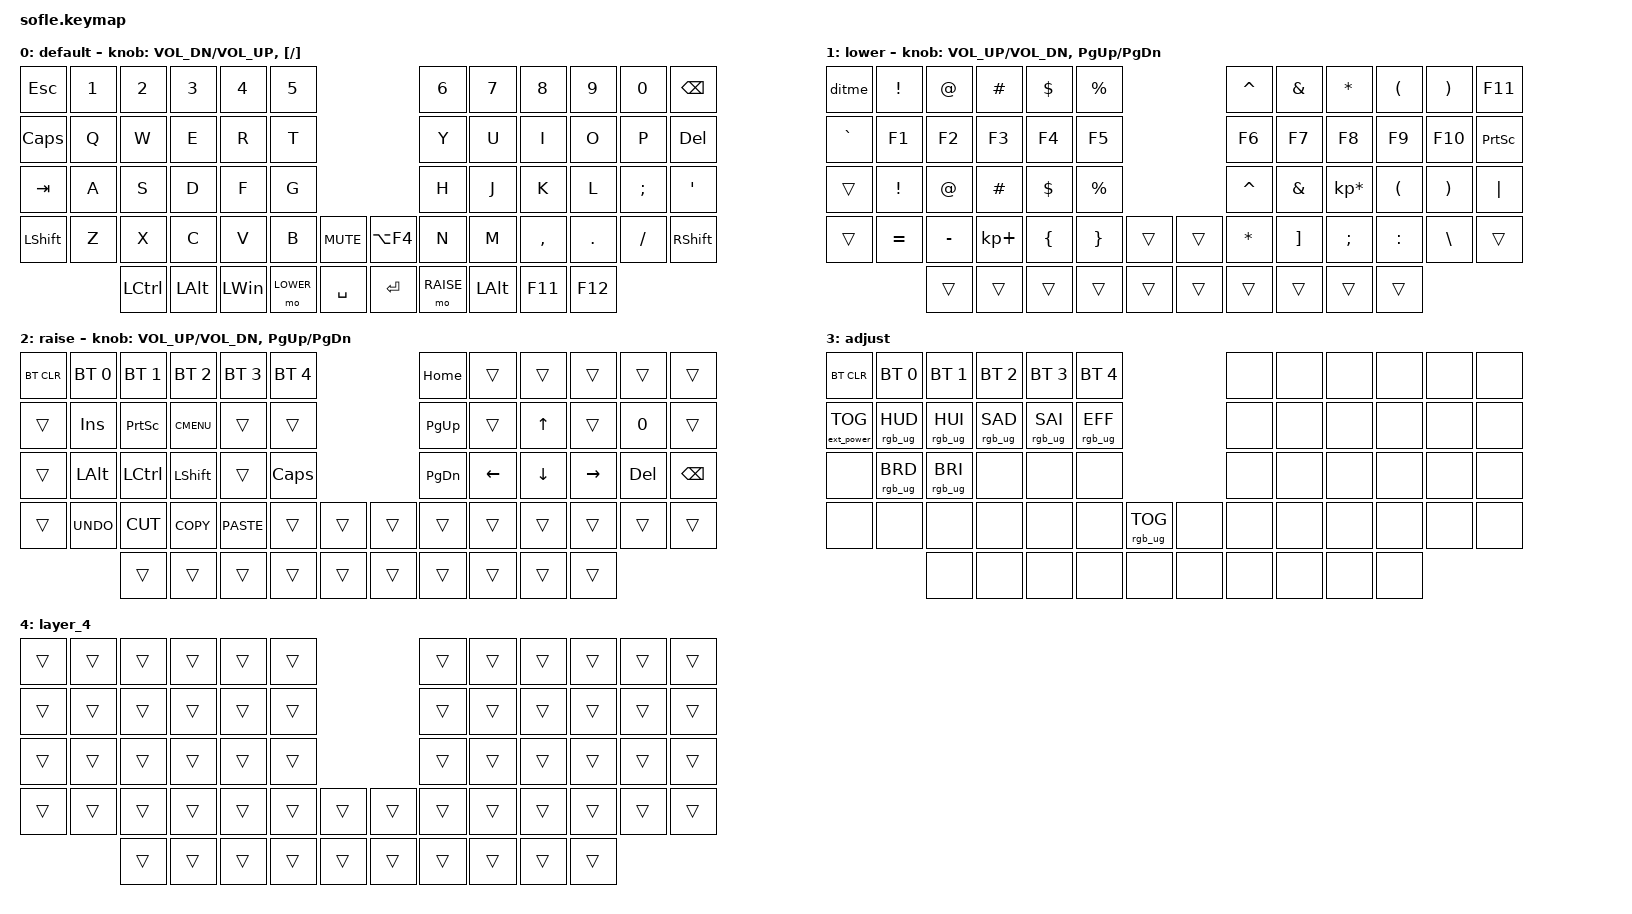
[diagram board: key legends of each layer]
/*
 * Copyright (c) 2020 The ZMK Contributors
 *
 * SPDX-License-Identifier: MIT
 */

#include <behaviors.dtsi>
#include <dt-bindings/zmk/bt.h>
#include <dt-bindings/zmk/ext_power.h>
#include <dt-bindings/zmk/keys.h>
#include <dt-bindings/zmk/rgb.h>

#define BASE 0
#define LOWER 1
#define RAISE 2
#define ADJUST 3

/ {
    // Activate ADJUST layer by pressing raise and lower

    conditional_layers {
        compatible = "zmk,conditional-layers";

        adjust_layer {
            if-layers = <LOWER RAISE>;
            then-layer = <ADJUST>;
        };
    };

    macros {
        ditme: quit {
            compatible = "zmk,behavior-macro";
            #binding-cells = <0>;
            bindings =
                <&none>,
                <&macro_press>,
                <&kp D &kp D &kp I &kp T &kp J &kp SPACE &kp M &kp E &kp J &kp SPACE>,
                <&macro_release>;

            label = "QUIT";
        };
    };

    keymap {
        compatible = "zmk,keymap";

        default_layer {
            label = "default";

            // ------------------------------------------------------------------------------------------------------------
            // |   `   |  1  |  2  |  3   |  4   |  5   |                   |  6   |  7    |  8    |  9   |   0   |       |
            // |  ESC  |  Q  |  W  |  E   |  R   |  T   |                   |  Y   |  U    |  I    |  O   |   P   | BKSPC |
            // |  TAB  |  A  |  S  |  D   |  F   |  G   |                   |  H   |  J    |  K    |  L   |   ;   |   '   |
            // | SHIFT |  Z  |  X  |  C   |  V   |  B   |  MUTE  |  |       |  N   |  M    |  ,    |  .   |   /   | SHIFT |
            //               | GUI | ALT  | CTRL | LOWER|  ENTER |  | SPACE | RAISE| CTRL  | ALT   | GUI  |

            bindings = <
&kp ESC       &kp N1  &kp N2            &kp N3    &kp N4        &kp N5                               &kp N6     &kp N7        &kp N8     &kp N9   &kp N0    &kp BACKSPACE
&kp CAPSLOCK  &kp Q   &kp W             &kp E     &kp R         &kp T                                &kp Y      &kp U         &kp I      &kp O    &kp P     &kp DELETE
&kp TAB       &kp A   &kp S             &kp D     &kp F         &kp G                                &kp H      &kp J         &kp K      &kp L    &kp SEMI  &kp SQT
&kp LSHFT     &kp Z   &kp X             &kp C     &kp V         &kp B      &kp C_MUTE    &kp LA(F4)  &kp N      &kp M         &kp COMMA  &kp DOT  &kp FSLH  &kp RSHFT
                      &kp LEFT_CONTROL  &kp LALT  &kp LEFT_WIN  &mo LOWER  &kp SPACE     &kp ENTER   &mo RAISE  &kp LEFT_ALT  &kp F11    &kp F12
            >;

            sensor-bindings =
                <&inc_dec_kp C_VOL_DN C_VOL_UP>,
                <&inc_dec_kp LEFT_BRACKET RIGHT_BRACKET>;
        };

        lower_layer {
            label = "lower";

            // TODO: Some binds are waiting for shifted keycode support.
            // ------------------------------------------------------------------------------------------------------------
            // |       |  F1 |  F2 |  F3  |  F4  |  F5  |                   |  F6  |  F7   |  F8   |  F9  |  F10  |  F11  |
            // |   `   |  1  |  2  |  3   |  4   |  5   |                   |  6   |  7    |  8    |  9   |   0   |  F12  |
            // |       |  !  |  @  |  #   |  $   |  %   |                   |  ^   |  &    |  *    |  (   |   )   |   |   |
            // |       |  =  |  -  |  +   |  {   |  }   |        |  |       |  [   |  ]    |  ;    |  :   |   \   |       |
            //               |     |      |      |      |        |  |       |      |       |       |      |

            bindings = <
&ditme     &kp EXCLAMATION  &kp AT_SIGN  &kp HASH     &kp DOLLAR  &kp PERCENT                    &kp CARET     &kp AMPERSAND  &kp ASTERISK     &kp LEFT_PARENTHESIS  &kp RIGHT_PARENTHESIS  &kp F11
&kp GRAVE  &kp F1           &kp F2       &kp F3       &kp F4      &kp F5                         &kp F6        &kp F7         &kp F8           &kp F9                &kp F10                &kp PRINTSCREEN
&trans     &kp EXCL         &kp AT       &kp HASH     &kp DLLR    &kp PRCNT                      &kp CARET     &kp AMPS       &kp KP_MULTIPLY  &kp LPAR              &kp RPAR               &kp PIPE
&trans     &kp EQUAL        &kp MINUS    &kp KP_PLUS  &kp LBRC    &kp RBRC     &trans    &trans  &kp ASTERISK  &kp RBKT       &kp SEMI         &kp COLON             &kp BSLH               &trans
                            &trans       &trans       &trans      &trans       &trans    &trans  &trans        &trans         &trans           &trans
            >;

            sensor-bindings = <&inc_dec_kp C_VOL_UP C_VOL_DN &inc_dec_kp PG_UP PG_DN>;
        };

        raise_layer {
            label = "raise";

            // ------------------------------------------------------------------------------------------------------------
            // | BTCLR | BT1  | BT2  |  BT3  |  BT4  |  BT5 |                |      |      |       |      |       |       |
            // |       | INS  | PSCR | GUI   |       |      |                | PGUP |      |   ^   |      |       |       |
            // |       | ALT  | CTRL | SHIFT |       | CAPS |                | PGDN |   <- |   v   |  ->  |  DEL  | BKSPC |
            // |       | UNDO | CUT  | COPY  | PASTE |      |      |  |      |      |      |       |      |       |       |
            //                |      |       |       |      |      |  |      |      |      |       |      |

            bindings = <
&bt BT_CLR  &bt BT_SEL 0  &bt BT_SEL 1  &bt BT_SEL 2  &bt BT_SEL 3  &bt BT_SEL 4                    &kp HOME   &trans    &trans    &trans     &trans   &trans
&trans      &kp INS       &kp PSCRN     &kp K_CMENU   &trans        &trans                          &kp PG_UP  &trans    &kp UP    &trans     &kp N0   &trans
&trans      &kp LALT      &kp LCTRL     &kp LSHFT     &trans        &kp CLCK                        &kp PG_DN  &kp LEFT  &kp DOWN  &kp RIGHT  &kp DEL  &kp BSPC
&trans      &kp K_UNDO    &kp K_CUT     &kp K_COPY    &kp K_PASTE   &trans        &trans    &trans  &trans     &trans    &trans    &trans     &trans   &trans
                          &trans        &trans        &trans        &trans        &trans    &trans  &trans     &trans    &trans    &trans
            >;

            sensor-bindings = <&inc_dec_kp C_VOL_UP C_VOL_DN &inc_dec_kp PG_UP PG_DN>;
        };

        adjust_layer {
            // ----------------------------------------------------------------------------------------------------------------------------
            // | BTCLR  |  BT1    |  BT2    |   BT3   |   BT4   |   BT5   |                  |      |      |       |      |       |       |
            // | EXTPWR | RGB_HUD | RGB_HUI | RGB_SAD | RGB_SAI | RGB_EFF |                  |      |      |       |      |       |       |
            // |        | RGB_BRD | RGB_BRI |         |         |         |                  |      |      |       |      |       |       |
            // |        |         |         |         |         |         | RGB_TOG | |      |      |      |       |      |       |       |
            //                    |         |         |         |         |         | |      |      |      |       |      |

            label = "adjust";
            bindings = <
&bt BT_CLR         &bt BT_SEL 0     &bt BT_SEL 1     &bt BT_SEL 2     &bt BT_SEL 3     &bt BT_SEL 4                               &none  &none  &none  &none  &none  &none
&ext_power EP_TOG  &rgb_ug RGB_HUD  &rgb_ug RGB_HUI  &rgb_ug RGB_SAD  &rgb_ug RGB_SAI  &rgb_ug RGB_EFF                            &none  &none  &none  &none  &none  &none
&none              &rgb_ug RGB_BRD  &rgb_ug RGB_BRI  &none            &none            &none                                      &none  &none  &none  &none  &none  &none
&none              &none            &none            &none            &none            &none            &rgb_ug RGB_TOG    &none  &none  &none  &none  &none  &none  &none
                                    &none            &none            &none            &none            &none              &none  &none  &none  &none  &none
            >;
        };

        layer_4 {
            bindings = <
&trans  &trans  &trans  &trans  &trans  &trans                    &trans  &trans  &trans  &trans  &trans  &trans
&trans  &trans  &trans  &trans  &trans  &trans                    &trans  &trans  &trans  &trans  &trans  &trans
&trans  &trans  &trans  &trans  &trans  &trans                    &trans  &trans  &trans  &trans  &trans  &trans
&trans  &trans  &trans  &trans  &trans  &trans  &trans    &trans  &trans  &trans  &trans  &trans  &trans  &trans
                &trans  &trans  &trans  &trans  &trans    &trans  &trans  &trans  &trans  &trans
            >;
        };
    };
};
